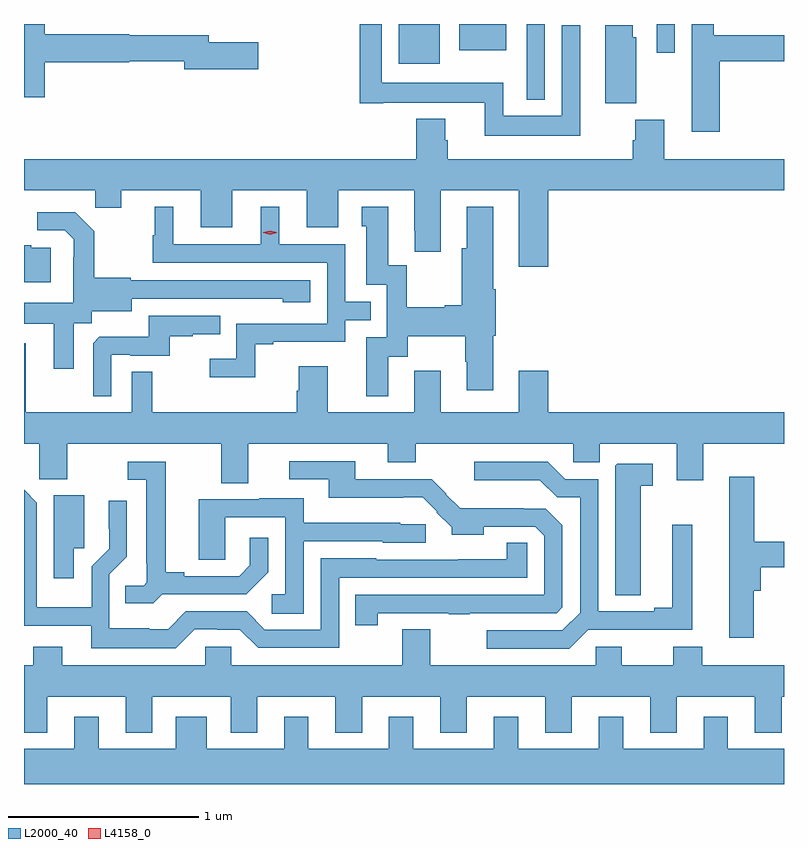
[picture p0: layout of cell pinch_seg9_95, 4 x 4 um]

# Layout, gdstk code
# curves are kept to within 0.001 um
import gdstk
lib = gdstk.Library(unit=1e-6, precision=1e-09)
def R(c, l, rs):  # rectangles x0, y0, x1, y1
    for r in rs: c.add(gdstk.rectangle(r[:2], r[2:], *l))
def P(c, l, *ps):  # polygons
    for p in ps: c.add(gdstk.Polygon(p, *l))
L2000_40 = (2000, 40)
L4158_0 = (4158, 0)

pinch_seg9_95 = lib.new_cell('pinch_seg9_95')
R(pinch_seg9_95, L2000_40, [(1050.483,1188.905,1050.579,1189.304), (1049.81,1189.094,1050.025,1189.304), (1051.167,1189.152,1051.263,1189.304), (1050.129,1189.166,1050.376,1189.304)])
P(pinch_seg9_95, L2000_40, [(1051.499,1189.108),(1051.838,1189.108),(1051.838,1189.244),(1051.469,1189.244),(1051.469,1189.304),(1051.353,1189.304),(1051.353,1189.121),(1051.352,1189.121),(1051.352,1188.738),(1051.499,1188.738)],
  [(1047.947,1189.103),(1048.392,1189.103),(1048.392,1189.108),(1048.682,1189.108),(1048.682,1189.066),(1049.071,1189.066),(1049.071,1189.208),(1048.81,1189.208),(1048.81,1189.244),(1048.392,1189.244),(1048.392,1189.25),(1047.947,1189.25),(1047.947,1189.304),(1047.838,1189.304),(1047.838,1188.918),(1047.947,1188.918)],
  [(1050.766,1189.297),(1050.669,1189.297),(1050.669,1188.82),(1050.36,1188.82),(1050.36,1188.994),(1049.721,1188.994),(1049.721,1189.304),(1049.605,1189.304),(1049.605,1188.888),(1049.728,1188.888),(1049.728,1188.89),(1050.263,1188.89),(1050.263,1188.716),(1050.766,1188.716)],
  [(1051.06,1189.233),(1051.042,1189.233),(1051.042,1189.297),(1050.896,1189.297),(1050.896,1188.886),(1051.06,1188.886)],
  [(1050.596,1188.428),(1051.838,1188.428),(1051.838,1188.592),(1051.208,1188.592),(1051.208,1188.801),(1051.055,1188.801),(1051.055,1188.692),(1051.043,1188.692),(1051.043,1188.592),(1050.068,1188.592),(1050.068,1188.693),(1050.055,1188.693),(1050.055,1188.805),(1049.903,1188.805),(1049.903,1188.592),(1047.838,1188.592),(1047.838,1188.428),(1048.213,1188.428),(1048.213,1188.338),(1048.351,1188.338),(1048.351,1188.428),(1048.769,1188.428),(1048.769,1188.234),(1048.933,1188.234),(1048.933,1188.428),(1049.327,1188.428),(1049.327,1188.234),(1049.491,1188.234),(1049.491,1188.428),(1049.891,1188.428),(1049.891,1188.217),(1049.894,1188.217),(1049.894,1188.105),(1050.031,1188.105),(1050.031,1188.428),(1050.443,1188.428),(1050.443,1188.027),(1050.596,1188.027)],
  [(1049.755,1187.554),(1049.857,1187.554),(1049.857,1187.66),(1050.16,1187.66),(1050.16,1187.526),(1050.167,1187.526),(1050.167,1187.376),(1050.307,1187.376),(1050.307,1187.664),(1050.32,1187.664),(1050.32,1187.908),(1050.307,1187.908),(1050.307,1188.343),(1050.167,1188.343),(1050.167,1188.123),(1050.142,1188.123),(1050.142,1187.825),(1050.053,1187.825),(1050.053,1187.812),(1049.853,1187.812),(1049.853,1188.035),(1049.755,1188.035),(1049.755,1188.343),(1049.615,1188.343),(1049.615,1188.24),(1049.639,1188.24),(1049.639,1187.931),(1049.748,1187.931),(1049.748,1187.655),(1049.639,1187.655),(1049.639,1187.346),(1049.755,1187.346)],
  [(1049.055,1187.619),(1049.149,1187.619),(1049.149,1187.631),(1049.529,1187.631),(1049.529,1187.745),(1049.663,1187.745),(1049.663,1187.841),(1049.529,1187.841),(1049.529,1188.144),(1049.182,1188.144),(1049.182,1188.343),(1049.084,1188.343),(1049.084,1188.144),(1048.624,1188.144),(1048.624,1188.343),(1048.526,1188.343),(1048.526,1188.192),(1048.515,1188.192),(1048.515,1188.048),(1049.433,1188.048),(1049.433,1187.727),(1048.956,1187.727),(1048.956,1187.542),(1048.815,1187.542),(1048.815,1187.444),(1049.055,1187.444)],
  [(1048.099,1187.728),(1048.194,1187.728),(1048.194,1187.792),(1048.405,1187.792),(1048.405,1187.859),(1049.199,1187.858),(1049.199,1187.84),(1049.344,1187.84),(1049.344,1187.955),(1048.401,1187.955),(1048.401,1187.968),(1048.209,1187.968),(1048.209,1188.213),(1048.109,1188.313),(1047.909,1188.313),(1047.909,1188.219),(1048.053,1188.219),(1048.1,1188.172),(1048.1,1188.077),(1048.098,1188.077),(1048.098,1187.836),(1047.838,1187.836),(1047.838,1187.726),(1047.995,1187.726),(1047.995,1187.49),(1048.099,1187.49)],
  [(1047.979,1188.126),(1047.875,1188.126),(1047.875,1188.139),(1047.838,1188.139),(1047.838,1188.03),(1047.839,1188.03),(1047.839,1187.946),(1047.979,1187.946)],
  [(1048.296,1187.562),(1048.396,1187.562),(1048.396,1187.559),(1048.604,1187.559),(1048.604,1187.661),(1048.727,1187.661),(1048.727,1187.672),(1048.871,1187.672),(1048.871,1187.769),(1048.494,1187.769),(1048.494,1187.657),(1048.235,1187.657),(1048.203,1187.625),(1048.203,1187.345),(1048.296,1187.345)],
  [(1049.017,1187.096),(1049.753,1187.096),(1049.753,1186.997),(1049.901,1186.997),(1049.901,1187.096),(1050.729,1187.096),(1050.729,1186.998),(1050.868,1186.998),(1050.868,1187.096),(1051.274,1187.096),(1051.274,1186.902),(1051.414,1186.902),(1051.414,1187.096),(1051.838,1187.096),(1051.838,1187.26),(1050.596,1187.26),(1050.596,1187.479),(1050.443,1187.479),(1050.443,1187.26),(1050.031,1187.26),(1050.031,1187.479),(1049.891,1187.479),(1049.891,1187.26),(1049.437,1187.26),(1049.437,1187.503),(1049.285,1187.503),(1049.285,1187.373),(1049.273,1187.373),(1049.273,1187.26),(1048.513,1187.26),(1048.513,1187.474),(1048.404,1187.474),(1048.404,1187.26),(1047.847,1187.26),(1047.847,1187.623),(1047.838,1187.623),(1047.838,1187.096),(1047.918,1187.096),(1047.918,1186.909),(1048.065,1186.909),(1048.065,1187.096),(1048.877,1187.096),(1048.877,1186.888),(1049.017,1186.888)],
  [(1049.7,1186.203),(1050.073,1186.203),(1050.073,1186.198),(1050.185,1186.198),(1050.185,1186.203),(1050.642,1186.203),(1050.672,1186.233),(1050.672,1186.665),(1050.583,1186.754),(1050.467,1186.754),(1050.467,1186.756),(1050.133,1186.756),(1050.059,1186.829),(1050.061,1186.831),(1049.985,1186.908),(1049.581,1186.908),(1049.581,1187.004),(1049.235,1187.004),(1049.235,1186.908),(1049.441,1186.908),(1049.441,1186.811),(1049.834,1186.811),(1049.834,1186.814),(1049.936,1186.814),(1050.012,1186.737),(1050.009,1186.734),(1050.088,1186.656),(1050.088,1186.616),(1050.259,1186.616),(1050.259,1186.659),(1050.528,1186.659),(1050.576,1186.611),(1050.576,1186.299),(1049.581,1186.299),(1049.581,1186.14),(1049.7,1186.14)],
  [(1050.808,1186.116),(1051.354,1186.116),(1051.354,1186.669),(1051.25,1186.669),(1051.25,1186.232),(1051.154,1186.232),(1051.154,1186.212),(1050.861,1186.212),(1050.861,1186.908),(1050.687,1186.908),(1050.594,1187.001),(1050.207,1187.001),(1050.207,1186.904),(1050.553,1186.904),(1050.644,1186.813),(1050.765,1186.813),(1050.765,1186.206),(1050.672,1186.113),(1050.273,1186.113),(1050.273,1186.017),(1050.709,1186.017)],
  [(1048.566,1186.302),(1049.008,1186.302),(1049.124,1186.418),(1049.124,1186.6),(1049.027,1186.6),(1049.027,1186.455),(1048.97,1186.398),(1048.681,1186.398),(1048.681,1186.418),(1048.585,1186.418),(1048.585,1187.001),(1048.383,1187.001),(1048.383,1186.905),(1048.481,1186.905),(1048.481,1186.465),(1048.485,1186.465),(1048.485,1186.365),(1048.467,1186.347),(1048.372,1186.347),(1048.372,1186.255),(1048.518,1186.255)],
  [(1051.084,1186.873),(1051.147,1186.873),(1051.147,1186.989),(1050.96,1186.989),(1050.95,1186.979),(1050.95,1186.297),(1051.084,1186.297)],
  [(1051.68,1186.322),(1051.716,1186.322),(1051.716,1186.444),(1051.838,1186.444),(1051.838,1186.58),(1051.682,1186.58),(1051.682,1186.921),(1051.55,1186.921),(1051.55,1186.074),(1051.68,1186.074)],
  [(1048.737,1186.119),(1048.854,1186.119),(1048.854,1186.116),(1048.974,1186.116),(1049.07,1186.02),(1049.496,1186.02),(1049.496,1186.389),(1050.486,1186.389),(1050.486,1186.574),(1050.378,1186.574),(1050.378,1186.486),(1049.691,1186.485),(1049.691,1186.492),(1049.4,1186.492),(1049.4,1186.116),(1049.106,1186.116),(1049.01,1186.212),(1048.689,1186.212),(1048.596,1186.119),(1048.496,1186.119),(1048.496,1186.123),(1048.287,1186.123),(1048.287,1186.407),(1048.38,1186.5),(1048.38,1186.795),(1048.284,1186.795),(1048.284,1186.648),(1048.286,1186.648),(1048.286,1186.542),(1048.194,1186.45),(1048.194,1186.234),(1047.906,1186.234),(1047.906,1186.785),(1047.838,1186.853),(1047.838,1186.137),(1048.193,1186.137),(1048.193,1186.019),(1048.637,1186.019)],
  [(1048.099,1186.545),(1048.156,1186.545),(1048.156,1186.824),(1047.995,1186.824),(1047.995,1186.386),(1048.099,1186.386)],
  [(1049.31,1186.581),(1049.727,1186.581),(1049.727,1186.575),(1049.952,1186.575),(1049.952,1186.671),(1049.817,1186.671),(1049.817,1186.678),(1049.311,1186.678),(1049.311,1186.807),(1049.075,1186.807),(1049.075,1186.803),(1048.757,1186.803),(1048.757,1186.483),(1048.896,1186.483),(1048.896,1186.707),(1049.214,1186.707),(1049.214,1186.302),(1049.142,1186.302),(1049.142,1186.201),(1049.31,1186.201)],
  [(1051.256,1185.928),(1050.985,1185.928),(1050.985,1186.026),(1050.846,1186.026),(1050.846,1185.928),(1049.977,1185.928),(1049.977,1186.118),(1049.83,1186.118),(1049.83,1185.928),(1048.929,1185.928),(1048.929,1186.026),(1048.791,1186.026),(1048.791,1185.928),(1048.039,1185.928),(1048.039,1186.027),(1047.887,1186.027),(1047.887,1185.928),(1047.838,1185.928),(1047.838,1185.575),(1047.961,1185.575),(1047.961,1185.764),(1048.373,1185.764),(1048.373,1185.575),(1048.513,1185.575),(1048.513,1185.764),(1048.925,1185.764),(1048.925,1185.575),(1049.065,1185.575),(1049.065,1185.764),(1049.477,1185.764),(1049.477,1185.575),(1049.617,1185.575),(1049.617,1185.764),(1050.029,1185.764),(1050.029,1185.575),(1050.169,1185.575),(1050.169,1185.764),(1050.581,1185.764),(1050.581,1185.575),(1050.721,1185.575),(1050.721,1185.764),(1051.133,1185.764),(1051.133,1185.575),(1051.273,1185.575),(1051.273,1185.764),(1051.685,1185.764),(1051.685,1185.575),(1051.825,1185.575),(1051.825,1185.764),(1051.838,1185.764),(1051.838,1185.928),(1051.409,1185.928),(1051.409,1186.027),(1051.256,1186.027)],
  [(1051.838,1185.49),(1051.543,1185.49),(1051.543,1185.658),(1051.415,1185.658),(1051.415,1185.49),(1050.991,1185.49),(1050.991,1185.658),(1050.863,1185.658),(1050.863,1185.49),(1050.439,1185.49),(1050.439,1185.658),(1050.311,1185.658),(1050.311,1185.49),(1049.887,1185.49),(1049.887,1185.658),(1049.759,1185.658),(1049.759,1185.49),(1049.335,1185.49),(1049.335,1185.658),(1049.207,1185.658),(1049.207,1185.49),(1048.801,1185.49),(1048.801,1185.658),(1048.637,1185.658),(1048.637,1185.49),(1048.231,1185.49),(1048.231,1185.658),(1048.103,1185.658),(1048.103,1185.49),(1047.838,1185.49),(1047.838,1185.304),(1051.838,1185.304)])
P(pinch_seg9_95, L4158_0, [(1049.133,1188.196),(1049.098,1188.206),(1049.097,1188.206),(1049.098,1188.207),(1049.133,1188.216),(1049.168,1188.207),(1049.169,1188.206),(1049.168,1188.206)])

lib.write_gds('pinch_seg9_95.gds')
